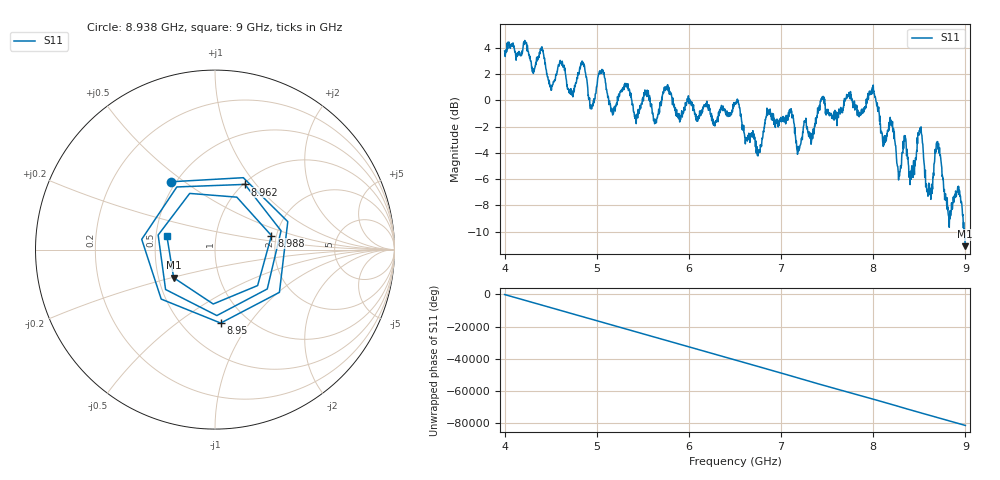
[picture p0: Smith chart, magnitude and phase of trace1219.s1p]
! Created with skrf 1.8.0 (http://scikit-rf.org).
# Hz S RI R 50.0
!freq ReS11 ImS11
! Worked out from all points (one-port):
!   1601 points, 4 GHz to 9 GHz, reference 50 ohm
!   lowest |S11| = -11.1 dB at 8.997 GHz (marker M1), VSWR 1.77, Z = 30 - j10.2 ohm
!   |S11| at or under -10 dB: 8.989741 GHz to end of sweep
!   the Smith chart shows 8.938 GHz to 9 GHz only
!   S11 on the Smith chart (normalised r, x): 8.938 GHz: 0.47, +0.45; 8.95 GHz: 0.75, -0.74; 8.962 GHz: 1.02, +0.88; 8.988 GHz: 1.88, +0.33; 9 GHz: 0.57, +0.09
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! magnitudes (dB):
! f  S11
! 4 GHz  3.8
! 4.625 GHz  3.0
! 4.725 GHz  0.6
! 4.85 GHz  2.8
! 4.938 GHz  -0.6
! 5.044 GHz  2.0
! 5.25 GHz  0.6
! 5.875 GHz  -1.0
! 6.5 GHz  -0.2
! 6.753 GHz  -3.8
! 6.859 GHz  -0.7
! 7.125 GHz  -1.2
! 7.191 GHz  -3.8
! 7.447 GHz  0.1
! 7.75 GHz  0.1
! 8 GHz  1.2
! 8.278 GHz  -5.5
! 8.375 GHz  -4.3
! 8.509 GHz  -2.1
! 8.6 GHz  -7.2
! 8.697 GHz  -3.1
! 8.822 GHz  -9.3
! 8.938 GHz  -6.9
! 8.95 GHz  -7.7
! 8.962 GHz  -8.0
! 8.988 GHz  -9.8
! 8.997 GHz  -11.1
! 9 GHz  -11.1
